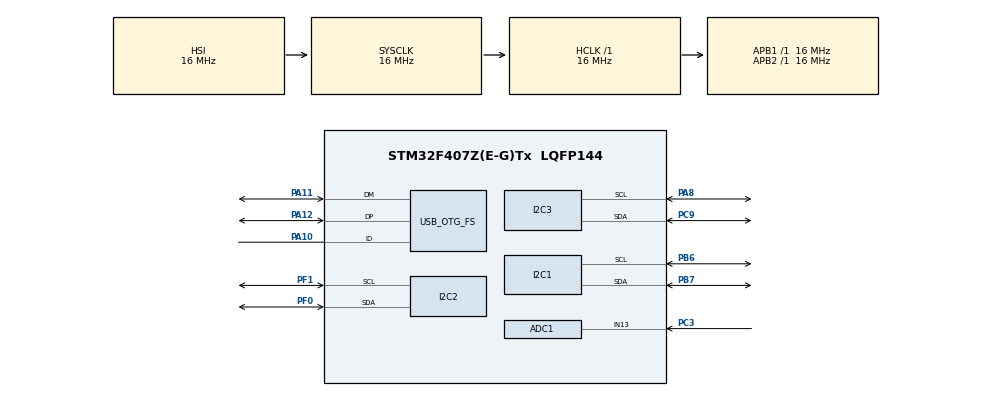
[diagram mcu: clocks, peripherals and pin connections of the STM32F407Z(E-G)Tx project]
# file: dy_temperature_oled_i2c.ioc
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ADC1.Channel-0\#ChannelRegularConversion=ADC_CHANNEL_13
ADC1.NbrOfConversionFlag=1
ADC1.Rank-0\#ChannelRegularConversion=1
ADC1.SamplingTime-0\#ChannelRegularConversion=ADC_SAMPLETIME_3CYCLES
ADC1.master=1
Mcu.Family=STM32F4
Mcu.Name=STM32F407Z(E-G)Tx
Mcu.Package=LQFP144
NVIC.PriorityGroup=NVIC_PRIORITYGROUP_4
PA10.Mode=OTG/Dual_Role_Device
PA10.Signal=USB_OTG_FS_ID
PA11.Mode=OTG/Dual_Role_Device
PA11.Signal=USB_OTG_FS_DM
PA12.Mode=OTG/Dual_Role_Device
PA12.Signal=USB_OTG_FS_DP
PA8.Mode=I2C
PA8.Signal=I2C3_SCL
PB6.Mode=I2C
PB6.Signal=I2C1_SCL
PB7.Mode=I2C
PB7.Signal=I2C1_SDA
PC3.Signal=ADCx_IN13
PC9.Mode=I2C
PC9.Signal=I2C3_SDA
PF0.Mode=I2C
PF0.Signal=I2C2_SDA
PF1.Mode=I2C
PF1.Signal=I2C2_SCL
PH0-OSC_IN.Mode=HSE-External-Oscillator
PH0-OSC_IN.Signal=RCC_OSC_IN
PH1-OSC_OUT.Mode=HSE-External-Oscillator
PH1-OSC_OUT.Signal=RCC_OSC_OUT
ProjectManager.HeapSize=0x200
ProjectManager.StackSize=0x400
ProjectManager.TargetToolchain=STM32CubeIDE
RCC.48MHZClocksFreq_Value=48000000
RCC.AHBFreq_Value=16000000
RCC.APB1Freq_Value=16000000
RCC.APB2Freq_Value=16000000
RCC.CortexFreq_Value=16000000
RCC.HSE_VALUE=8000000
RCC.HSI_VALUE=16000000
RCC.LSE_VALUE=32768
RCC.PLLM=4
RCC.PLLN=72
RCC.PLLQ=3
RCC.SYSCLKFreq_VALUE=16000000
RCC.VCOOutputFreq_Value=144000000
SH.ADCx_IN13.0=ADC1_IN13,IN13
board=custom

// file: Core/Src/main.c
/* USER CODE BEGIN Header */
/**
 ******************************************************************************
 * @file           : main.c
 * @brief          : Main program body
 ******************************************************************************
 * @attention
 *
 * Copyright (c) 2025 STMicroelectronics.
 * All rights reserved.
 *
 * This software is licensed under terms that can be found in the LICENSE file
 * in the root directory of this software component.
 * If no LICENSE file comes with this software, it is provided AS-IS.
 *
 ******************************************************************************
 */
/* USER CODE END Header */
#include "main.h"
#include "adc.h"
#include "i2c.h"
#include "usb_otg.h"
#include "gpio.h"

/* USER CODE BEGIN Includes */
#include "ssd1306/ssd1306.h"
#include "ssd1306/ssd1306_fonts.h"

/* USER CODE END Includes */

/* USER CODE BEGIN PD */
#define LM75A_ADDR  (0x4F << 1)  // Shifted for HAL (8-bit address mode)
#define LM75A_TEMP_REG 0x00
/* USER CODE END PD */

void SystemClock_Config(void);

/* USER CODE BEGIN 0 */
void I2C_ScanAndDisplay(void)
{
	char buf[20];
	ssd1306_Fill(Black);
	ssd1306_SetCursor(0, 0);
	ssd1306_WriteString("I2C Scan:", Font_7x10, White);

	uint8_t found = 0;
	uint8_t y = 12; // OLED row position

	for (uint8_t addr = 1; addr < 127; addr++)
	{
		if (HAL_I2C_IsDeviceReady(&hi2c2, (addr << 1), 3, 5) == HAL_OK)
		{
			snprintf(buf, sizeof(buf), "0x%02X", addr);
			ssd1306_SetCursor(0, y);
			ssd1306_WriteString(buf, Font_7x10, White);
			y += 10;
			found = 1;
		}
	}

	if (!found)
	{
		ssd1306_SetCursor(2, 12);
		ssd1306_WriteString("No device!", Font_7x10, White);
	}

	ssd1306_UpdateScreen();
}

#define LM75A_TEMP_REG  0x00
uint8_t lm75a_addr = 0; // Will be set after scan

void I2C_ScanAndFindLM75A(void)
{
	for (uint8_t addr = 1; addr < 127; addr++)
	{
		if (HAL_I2C_IsDeviceReady(&hi2c2, (addr << 1), 3, 5) == HAL_OK)
		{
			if (addr == 0x4F) // Found LM75A
			{
				lm75a_addr = addr << 1; // Save 8-bit form for HAL
				break;
			}
		}
	}
}

float LM75A_ReadTemperature_Fine(void)
{
	uint8_t temp_data[2];
	int16_t raw_temp;
	float temperature;

	if (HAL_I2C_Mem_Read(&hi2c2, lm75a_addr, LM75A_TEMP_REG,
			I2C_MEMADD_SIZE_8BIT, temp_data, 2, HAL_MAX_DELAY) != HAL_OK)
	{
		return -1000.0f; // Error
	}

	// Combine MSB and LSB
	raw_temp = (temp_data[0] << 8) | temp_data[1];

	// Shift right by 5 to get rid of unused bits (bits 4..0)
	raw_temp >>= 5;

	// Sign extend 11-bit signed number if needed
	if (raw_temp & 0x400) // Check sign bit (bit 10)
	{
		raw_temp |= 0xF800; // Set upper bits to 1 for negative numbers
	}

	temperature = raw_temp * 0.125f;

	return temperature;
}

/* USER CODE END 0 */

int main(void)
{

	/* MCU Configuration--------------------------------------------------------*/

	/* Reset of all peripherals, Initializes the Flash interface and the Systick. */
	HAL_Init();

	/* Configure the system clock */
	SystemClock_Config();

	/* Initialize all configured peripherals */
	MX_GPIO_Init();
	MX_I2C2_Init();
	MX_USB_OTG_FS_USB_Init();
	MX_I2C1_Init();
	MX_I2C3_Init();
	MX_ADC1_Init();
	/* USER CODE BEGIN 2 */

	ssd1306_Init();

	//	ssd1306_Fill(Black);
	//	ssd1306_SetCursor(0, 0);
	//	ssd1306_WriteString("Scanning I2C...", Font_7x10, White);
	//	ssd1306_UpdateScreen();
	//
	I2C_ScanAndFindLM75A();
	//
	//	if (lm75a_addr == 0)
	//	{
	//		ssd1306_Fill(Black);
	//		ssd1306_SetCursor(0, 0);
	//		ssd1306_WriteString("LM75A not found!", Font_7x10, White);
	//		ssd1306_UpdateScreen();
	//		while (1); // Stop
	//	}

	char buffer[20];
	/* USER CODE END 2 */

	/* Infinite loop */
	/* USER CODE BEGIN WHILE */
	while (1)
	{

		float temp = LM75A_ReadTemperature_Fine();
		uint32_t adc_val = Read_ADC_Channel();
		float voltage = adc_val * 3.3f / 4095.0f;

		ssd1306_Fill(Black);

		ssd1306_SetCursor(2, 0);
		snprintf(buffer, sizeof(buffer), "Temp: %d.%02d C",
				(int)temp, (int)((temp - (int)temp) * 100));
		ssd1306_WriteString(buffer, Font_7x10, White);

		ssd1306_SetCursor(2, 20);
		snprintf(buffer, sizeof(buffer), "Pot: %ld (%.2fV)", adc_val, voltage);
		ssd1306_WriteString(buffer, Font_7x10, White);

		ssd1306_UpdateScreen();

		HAL_Delay(1000);
		/* USER CODE END WHILE */

	}
}

void SystemClock_Config(void)
{
	RCC_OscInitTypeDef RCC_OscInitStruct = {0};
	RCC_ClkInitTypeDef RCC_ClkInitStruct = {0};

	/** Configure the main internal regulator output voltage
	 */
	__HAL_RCC_PWR_CLK_ENABLE();
	__HAL_PWR_VOLTAGESCALING_CONFIG(PWR_REGULATOR_VOLTAGE_SCALE1);

	/** Initializes the RCC Oscillators according to the specified parameters
	 * in the RCC_OscInitTypeDef structure.
	 */
	RCC_OscInitStruct.OscillatorType = RCC_OSCILLATORTYPE_HSI|RCC_OSCILLATORTYPE_HSE;
	RCC_OscInitStruct.HSEState = RCC_HSE_ON;
	RCC_OscInitStruct.HSIState = RCC_HSI_ON;
	RCC_OscInitStruct.HSICalibrationValue = RCC_HSICALIBRATION_DEFAULT;
	RCC_OscInitStruct.PLL.PLLState = RCC_PLL_ON;
	RCC_OscInitStruct.PLL.PLLSource = RCC_PLLSOURCE_HSE;
	RCC_OscInitStruct.PLL.PLLM = 4;
	RCC_OscInitStruct.PLL.PLLN = 72;
	RCC_OscInitStruct.PLL.PLLP = RCC_PLLP_DIV2;
	RCC_OscInitStruct.PLL.PLLQ = 3;
	if (HAL_RCC_OscConfig(&RCC_OscInitStruct) != HAL_OK)
	{
		Error_Handler();
	}

	/** Initializes the CPU, AHB and APB buses clocks
	 */
	RCC_ClkInitStruct.ClockType = RCC_CLOCKTYPE_HCLK|RCC_CLOCKTYPE_SYSCLK
			|RCC_CLOCKTYPE_PCLK1|RCC_CLOCKTYPE_PCLK2;
	RCC_ClkInitStruct.SYSCLKSource = RCC_SYSCLKSOURCE_HSI;
	RCC_ClkInitStruct.AHBCLKDivider = RCC_SYSCLK_DIV1;
	RCC_ClkInitStruct.APB1CLKDivider = RCC_HCLK_DIV1;
	RCC_ClkInitStruct.APB2CLKDivider = RCC_HCLK_DIV1;

	if (HAL_RCC_ClockConfig(&RCC_ClkInitStruct, FLASH_LATENCY_0) != HAL_OK)
	{
		Error_Handler();
	}
}

void Error_Handler(void)
{
	__disable_irq();
	while (1)
	{
	}
}
